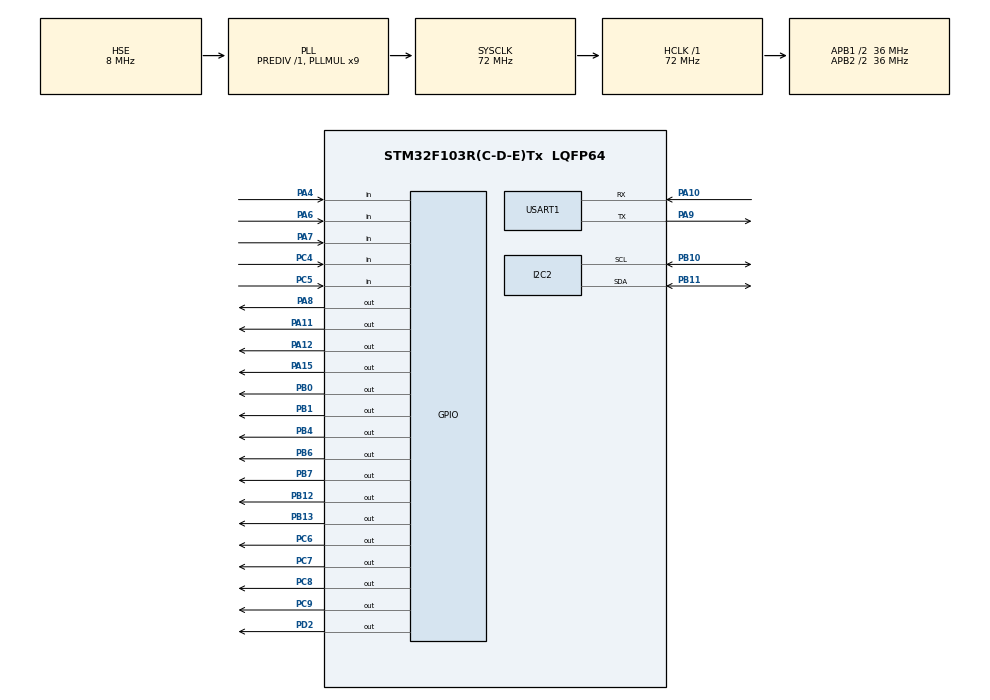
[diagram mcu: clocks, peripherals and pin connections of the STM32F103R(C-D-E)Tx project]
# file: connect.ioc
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Mcu.Family=STM32F1
Mcu.Name=STM32F103R(C-D-E)Tx
Mcu.Package=LQFP64
NVIC.PriorityGroup=NVIC_PRIORITYGROUP_4
NVIC.USART1_IRQn=true\:0\:0\:false\:false\:true\:true
PA10.Mode=Asynchronous
PA10.Signal=USART1_RX
PA11.Signal=GPIO_Output
PA12.Signal=GPIO_Output
PA15.Signal=GPIO_Output
PA4.Signal=GPIO_Input
PA6.Signal=GPIO_Input
PA7.Signal=GPIO_Input
PA8.Signal=GPIO_Output
PA9.Mode=Asynchronous
PA9.Signal=USART1_TX
PB0.Signal=GPIO_Output
PB1.Signal=GPIO_Output
PB10.Mode=I2C
PB10.Signal=I2C2_SCL
PB11.Mode=I2C
PB11.Signal=I2C2_SDA
PB12.Signal=GPIO_Output
PB13.Signal=GPIO_Output
PB4.Signal=GPIO_Output
PB6.Signal=GPIO_Output
PB7.Signal=GPIO_Output
PC4.Signal=GPIO_Input
PC5.Signal=GPIO_Input
PC6.Signal=GPIO_Output
PC7.Signal=GPIO_Output
PC8.Signal=GPIO_Output
PC9.Signal=GPIO_Output
PD0-OSC_IN.Mode=HSE-External-Oscillator
PD0-OSC_IN.Signal=RCC_OSC_IN
PD1-OSC_OUT.Mode=HSE-External-Oscillator
PD1-OSC_OUT.Signal=RCC_OSC_OUT
PD2.Signal=GPIO_Output
ProjectManager.HeapSize=0x200
ProjectManager.StackSize=0x400
ProjectManager.TargetToolchain=MDK-ARM V5
RCC.AHBFreq_Value=72000000
RCC.APB1CLKDivider=RCC_HCLK_DIV2
RCC.APB1Freq_Value=36000000
RCC.APB1TimFreq_Value=72000000
RCC.APB2CLKDivider=RCC_HCLK_DIV2
RCC.APB2Freq_Value=36000000
RCC.APB2TimFreq_Value=72000000
RCC.HCLKFreq_Value=72000000
RCC.PLLMUL=RCC_PLL_MUL9
RCC.PLLSourceVirtual=RCC_PLLSOURCE_HSE
RCC.SYSCLKFreq_VALUE=72000000
RCC.SYSCLKSource=RCC_SYSCLKSOURCE_PLLCLK
RCC.USBFreq_Value=72000000
USART1.VirtualMode=VM_ASYNC
VP_SYS_VS_ND.Mode=No_Debug
board=custom

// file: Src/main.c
/* USER CODE BEGIN Header */
/**
  ******************************************************************************
  * @file           : main.c
  * @brief          : Main program body
  ******************************************************************************
  ** This notice applies to any and all portions of this file
  * that are not between comment pairs USER CODE BEGIN and
  * USER CODE END. Other portions of this file, whether
  * inserted by the user or by software development tools
  * are owned by their respective copyright owners.
  *
  * COPYRIGHT(c) 2019 STMicroelectronics
  *
  * Redistribution and use in source and binary forms, with or without modification,
  * are permitted provided that the following conditions are met:
  *   1. Redistributions of source code must retain the above copyright notice,
  *      this list of conditions and the following disclaimer.
  *   2. Redistributions in binary form must reproduce the above copyright notice,
  *      this list of conditions and the following disclaimer in the documentation
  *      and/or other materials provided with the distribution.
  *   3. Neither the name of STMicroelectronics nor the names of its contributors
  *      may be used to endorse or promote products derived from this software
  *      without specific prior written permission.
  *
  * THIS SOFTWARE IS PROVIDED BY THE COPYRIGHT HOLDERS AND CONTRIBUTORS "AS IS"
  * AND ANY EXPRESS OR IMPLIED WARRANTIES, INCLUDING, BUT NOT LIMITED TO, THE
  * IMPLIED WARRANTIES OF MERCHANTABILITY AND FITNESS FOR A PARTICULAR PURPOSE ARE
  * DISCLAIMED. IN NO EVENT SHALL THE COPYRIGHT HOLDER OR CONTRIBUTORS BE LIABLE
  * FOR ANY DIRECT, INDIRECT, INCIDENTAL, SPECIAL, EXEMPLARY, OR CONSEQUENTIAL
  * DAMAGES (INCLUDING, BUT NOT LIMITED TO, PROCUREMENT OF SUBSTITUTE GOODS OR
  * SERVICES; LOSS OF USE, DATA, OR PROFITS; OR BUSINESS INTERRUPTION) HOWEVER
  * CAUSED AND ON ANY THEORY OF LIABILITY, WHETHER IN CONTRACT, STRICT LIABILITY,
  * OR TORT (INCLUDING NEGLIGENCE OR OTHERWISE) ARISING IN ANY WAY OUT OF THE USE
  * OF THIS SOFTWARE, EVEN IF ADVISED OF THE POSSIBILITY OF SUCH DAMAGE.
  *
  ******************************************************************************
  */
/* USER CODE END Header */

#include "main.h"

I2C_HandleTypeDef hi2c2;

UART_HandleTypeDef huart1;

/* USER CODE BEGIN PV */

struct GPIO_PACK{
		GPIO_TypeDef * port;
		uint16_t pin;
	};
	struct GPIO_PACK segs[8]= {
	{GPIOA,GPIO_PIN_15},
	{GPIOA,GPIO_PIN_11},
	{GPIOC,GPIO_PIN_9},
	{GPIOC,GPIO_PIN_7},
	{GPIOC,GPIO_PIN_8},
	{GPIOA,GPIO_PIN_12},
	{GPIOA,GPIO_PIN_8},
	{GPIOC,GPIO_PIN_6},
	}	;
	struct GPIO_PACK bits[4]={
	{GPIOD,GPIO_PIN_2},
	{GPIOB,GPIO_PIN_4},
	{GPIOB,GPIO_PIN_6},
	{GPIOB,GPIO_PIN_7},

	};
uint8_t shuzu[]={
	0xc0,0xf9,0xa4,0xb0,0x99,0x92,0x82,
	0xf8,0x80,0x90,0x88,0x83,0xc6,0xa1,0x86,0x8e
};
void DisplayOnebit(uint8_t digtal,uint8_t bit){
		uint8_t i;
		for(i=0;i<8;i++){
			HAL_GPIO_WritePin(segs[i].port,segs[i].pin,(GPIO_PinState)(shuzu[digtal]&(0x01<<i)));
		}
		for(i=0;i<4;i++){
			HAL_GPIO_WritePin(bits[i].port,bits[i].pin,(GPIO_PinState)(i!=bit));
		}
}

void DisplayDigtal(uint16_t digtal){
	int a=0;

	DisplayOnebit(digtal%10,0);
	HAL_Delay(5);
	if (digtal>=10){
	DisplayOnebit(digtal/10%10,1);
	HAL_Delay(5);
	if (digtal>=100){
	DisplayOnebit(digtal/100%10,2);
	HAL_Delay(5);
	if (digtal>=1000){
	DisplayOnebit(digtal/1000%10,3);
	HAL_Delay(5);

				}
			}
		}

}
//0到9  要在数码管显示 十六进制值
// 扫描按键使用到的gpio口 弄到结构数组里面去
struct GPIO_PACK lie[4]={
   {GPIOB,GPIO_PIN_0},
   {GPIOB,GPIO_PIN_1},
   {GPIOB,GPIO_PIN_13},
   {GPIOB,GPIO_PIN_12}
};
struct GPIO_PACK hang[4]={
   {GPIOA,GPIO_PIN_6},
   {GPIOA,GPIO_PIN_7},
   {GPIOC,GPIO_PIN_4},
   {GPIOC,GPIO_PIN_5}
};

/* USER CODE END PV */

void SystemClock_Config(void);
static void MX_GPIO_Init(void);
static void MX_USART1_UART_Init(void);
static void MX_I2C2_Init(void);
/* USER CODE BEGIN PFP */
uint8_t connctt[15]="hello world";
uint8_t connctt2[25]="The Key is ";
uint8_t *receive;
uint8_t receive_str[4]="0";  // 串口发送接收到的值
int number=0;
int receive_kye;  //扫描键盘获取到的值
int get_key ; //串口发送的值 转换为int
int getkey_length=0; // 获取到的值的长度
void Displaykeying()
	{
		uint8_t i,j,s,key=0;uint8_t k=1;
		for(i=0;i<4;i++)
	{	 HAL_GPIO_WritePin(lie[i].port,lie[i].pin,GPIO_PIN_RESET);
		for(s=0;s<4;s++){
		if(i!=s)
			HAL_GPIO_WritePin(lie[s].port,lie[s].pin,GPIO_PIN_SET);}
		for(j=0;j<4;j++)
	{	k=HAL_GPIO_ReadPin(hang[j].port,hang[j].pin);
		if(k==0)
			HAL_Delay(5);
			if(k==0)
			switch(j)
			{
				case 0:key=j+1+i;break;
				case 1:key=j+4+i;break;
				case 2:key=j+7+i;break;
				case 3:key=j+10+i;break;
			}
		}
	}
	if (key !=0)
	{
		number = 1;
		uint8_t key_str[5];  //按下的键值 转换成字符型
		//connctt2 ="The Key is ";
		strcpy(connctt2,"The Key is ");
		DisplayDigtal(key);
		Int2Str(key_str,key);  //吧receive_key 按下的键值 转换成字符型 key_str
		strncat(connctt2,key_str,10);  //把key_str 添加到connctt2后面
		HAL_Delay(500);

		HAL_UART_Transmit_IT(&huart1,connctt2,25);
		//HAL_UART_Transmit_IT(&huart1,ReadBuffer,10);
	}else
	number = 0;

	}

/* USER CODE END PFP */

/* USER CODE BEGIN 0 */

void Int2Str(uint8_t* str, int intnum)   //将无符号整形整数intnum 转换成字符 str
{
    int i, Div = 1000000000, j = 0, Status = 0;
   //32????????10???,??Div=10 0000 0000
    for (i = 0; i < 10; i++)
    {
        str[j++] = (intnum / Div) + '0';//???? ?????

        intnum = intnum % Div;//?????
        Div /= 10;//???10-i????
        if ((str[j-1] == '0') & (Status == 0))//??????'0'
        {
            j = 0;
        }
        else
        {
            Status++;
        }
    }
}
int str2int1( char* str)  // 字符串转整形
{
    int temp = 0;
    const char* p = str;
    if(str == NULL) return 0;
    if(*str == '-' || *str == '+')
    {
        str ++;
    }
    while( *str != 0)
    {
        if( *str < '0' || *str > '9')
        {
            break;
        }
        temp = temp*10 +(*str -'0');
        str ++;
    }
    if(*p == '-')
    {
        temp = -temp;
    }
    return temp;
}
#define ADDR_AT24C02_Write 0xA0
#define ADDR_AT24C02_Read 0xA1

#define BufferSize 0x100

uint16_t i;
uint8_t  AT24c02_flag;//

uint8_t params[4]="0";

uint8_t test_i2c[3];
/* USER CODE END 0 */

int main(void)
{

  /* MCU Configuration--------------------------------------------------------*/

  /* Reset of all peripherals, Initializes the Flash interface and the Systick. */
  HAL_Init();

  /* Configure the system clock */
  SystemClock_Config();

  /* Initialize all configured peripherals */
  MX_GPIO_Init();
  MX_USART1_UART_Init();
  MX_I2C2_Init();
  /* USER CODE BEGIN 2 */
	HAL_UART_Receive_IT(&huart1, receive_str,4);

	HAL_I2C_Mem_Read(&hi2c2, ADDR_AT24C02_Read,0,I2C_MEMADD_SIZE_8BIT,receive_str,4,10000);
	HAL_UART_Transmit(&huart1,receive_str,4,50);
	int t =0;
//
  /* USER CODE END 2 */

  /* Infinite loop */
  while (1)
  {

    /* USER CODE BEGIN 3 */

		t++;
		Displaykeying();

		//get_key = str2int1(receive_str);
		get_key = (receive_str[0]-48)*1000+(receive_str[1]-48)*100+(receive_str[2]-48)*10+(receive_str[3]-48);
		if (t%1000==0)
		{
		HAL_UART_Transmit(&huart1,params,4,50);
			HAL_UART_Transmit(&huart1,receive_str,4,50);
			t=0;
		}
		DisplayDigtal(get_key);

  }
  /* USER CODE END 3 */
}

void SystemClock_Config(void)
{
  RCC_OscInitTypeDef RCC_OscInitStruct = {0};
  RCC_ClkInitTypeDef RCC_ClkInitStruct = {0};

  /**Initializes the CPU, AHB and APB busses clocks
  */
  RCC_OscInitStruct.OscillatorType = RCC_OSCILLATORTYPE_HSE;
  RCC_OscInitStruct.HSEState = RCC_HSE_ON;
  RCC_OscInitStruct.HSEPredivValue = RCC_HSE_PREDIV_DIV1;
  RCC_OscInitStruct.HSIState = RCC_HSI_ON;
  RCC_OscInitStruct.PLL.PLLState = RCC_PLL_ON;
  RCC_OscInitStruct.PLL.PLLSource = RCC_PLLSOURCE_HSE;
  RCC_OscInitStruct.PLL.PLLMUL = RCC_PLL_MUL9;
  if (HAL_RCC_OscConfig(&RCC_OscInitStruct) != HAL_OK)
  {
    Error_Handler();
  }
  /**Initializes the CPU, AHB and APB busses clocks
  */
  RCC_ClkInitStruct.ClockType = RCC_CLOCKTYPE_HCLK|RCC_CLOCKTYPE_SYSCLK
                              |RCC_CLOCKTYPE_PCLK1|RCC_CLOCKTYPE_PCLK2;
  RCC_ClkInitStruct.SYSCLKSource = RCC_SYSCLKSOURCE_PLLCLK;
  RCC_ClkInitStruct.AHBCLKDivider = RCC_SYSCLK_DIV1;
  RCC_ClkInitStruct.APB1CLKDivider = RCC_HCLK_DIV2;
  RCC_ClkInitStruct.APB2CLKDivider = RCC_HCLK_DIV2;

  if (HAL_RCC_ClockConfig(&RCC_ClkInitStruct, FLASH_LATENCY_2) != HAL_OK)
  {
    Error_Handler();
  }
}

static void MX_I2C2_Init(void)
{

  hi2c2.Instance = I2C2;
  hi2c2.Init.ClockSpeed = 100000;
  hi2c2.Init.DutyCycle = I2C_DUTYCYCLE_2;
  hi2c2.Init.OwnAddress1 = 0;
  hi2c2.Init.AddressingMode = I2C_ADDRESSINGMODE_7BIT;
  hi2c2.Init.DualAddressMode = I2C_DUALADDRESS_DISABLE;
  hi2c2.Init.OwnAddress2 = 0;
  hi2c2.Init.GeneralCallMode = I2C_GENERALCALL_DISABLE;
  hi2c2.Init.NoStretchMode = I2C_NOSTRETCH_DISABLE;
  if (HAL_I2C_Init(&hi2c2) != HAL_OK)
  {
    Error_Handler();
  }

}

static void MX_USART1_UART_Init(void)
{

  huart1.Instance = USART1;
  huart1.Init.BaudRate = 115200;
  huart1.Init.WordLength = UART_WORDLENGTH_8B;
  huart1.Init.StopBits = UART_STOPBITS_1;
  huart1.Init.Parity = UART_PARITY_NONE;
  huart1.Init.Mode = UART_MODE_TX_RX;
  huart1.Init.HwFlowCtl = UART_HWCONTROL_NONE;
  huart1.Init.OverSampling = UART_OVERSAMPLING_16;
  if (HAL_UART_Init(&huart1) != HAL_OK)
  {
    Error_Handler();
  }

}

static void MX_GPIO_Init(void)
{
  GPIO_InitTypeDef GPIO_InitStruct = {0};

  /* GPIO Ports Clock Enable */
  __HAL_RCC_GPIOD_CLK_ENABLE();
  __HAL_RCC_GPIOA_CLK_ENABLE();
  __HAL_RCC_GPIOC_CLK_ENABLE();
  __HAL_RCC_GPIOB_CLK_ENABLE();

  /*Configure GPIO pin Output Level */
  HAL_GPIO_WritePin(GPIOB, GPIO_PIN_0|GPIO_PIN_1|GPIO_PIN_12|GPIO_PIN_13
                          |GPIO_PIN_4|GPIO_PIN_6|GPIO_PIN_7, GPIO_PIN_RESET);

  /*Configure GPIO pin Output Level */
  HAL_GPIO_WritePin(GPIOC, GPIO_PIN_6|GPIO_PIN_7|GPIO_PIN_8|GPIO_PIN_9, GPIO_PIN_RESET);

  /*Configure GPIO pin Output Level */
  HAL_GPIO_WritePin(GPIOA, GPIO_PIN_8|GPIO_PIN_11|GPIO_PIN_12|GPIO_PIN_15, GPIO_PIN_RESET);

  /*Configure GPIO pin Output Level */
  HAL_GPIO_WritePin(GPIOD, GPIO_PIN_2, GPIO_PIN_RESET);

  /*Configure GPIO pins : PA4 PA6 PA7 */
  GPIO_InitStruct.Pin = GPIO_PIN_4|GPIO_PIN_6|GPIO_PIN_7;
  GPIO_InitStruct.Mode = GPIO_MODE_INPUT;
  GPIO_InitStruct.Pull = GPIO_NOPULL;
  HAL_GPIO_Init(GPIOA, &GPIO_InitStruct);

  /*Configure GPIO pins : PC4 PC5 */
  GPIO_InitStruct.Pin = GPIO_PIN_4|GPIO_PIN_5;
  GPIO_InitStruct.Mode = GPIO_MODE_INPUT;
  GPIO_InitStruct.Pull = GPIO_NOPULL;
  HAL_GPIO_Init(GPIOC, &GPIO_InitStruct);

  /*Configure GPIO pins : PB0 PB1 PB12 PB13
                           PB4 PB6 PB7 */
  GPIO_InitStruct.Pin = GPIO_PIN_0|GPIO_PIN_1|GPIO_PIN_12|GPIO_PIN_13
                          |GPIO_PIN_4|GPIO_PIN_6|GPIO_PIN_7;
  GPIO_InitStruct.Mode = GPIO_MODE_OUTPUT_PP;
  GPIO_InitStruct.Pull = GPIO_NOPULL;
  GPIO_InitStruct.Speed = GPIO_SPEED_FREQ_LOW;
  HAL_GPIO_Init(GPIOB, &GPIO_InitStruct);

  /*Configure GPIO pins : PC6 PC7 PC8 PC9 */
  GPIO_InitStruct.Pin = GPIO_PIN_6|GPIO_PIN_7|GPIO_PIN_8|GPIO_PIN_9;
  GPIO_InitStruct.Mode = GPIO_MODE_OUTPUT_PP;
  GPIO_InitStruct.Pull = GPIO_NOPULL;
  GPIO_InitStruct.Speed = GPIO_SPEED_FREQ_LOW;
  HAL_GPIO_Init(GPIOC, &GPIO_InitStruct);

  /*Configure GPIO pins : PA8 PA11 PA12 PA15 */
  GPIO_InitStruct.Pin = GPIO_PIN_8|GPIO_PIN_11|GPIO_PIN_12|GPIO_PIN_15;
  GPIO_InitStruct.Mode = GPIO_MODE_OUTPUT_PP;
  GPIO_InitStruct.Pull = GPIO_NOPULL;
  GPIO_InitStruct.Speed = GPIO_SPEED_FREQ_LOW;
  HAL_GPIO_Init(GPIOA, &GPIO_InitStruct);

  /*Configure GPIO pin : PD2 */
  GPIO_InitStruct.Pin = GPIO_PIN_2;
  GPIO_InitStruct.Mode = GPIO_MODE_OUTPUT_PP;
  GPIO_InitStruct.Pull = GPIO_NOPULL;
  GPIO_InitStruct.Speed = GPIO_SPEED_FREQ_LOW;
  HAL_GPIO_Init(GPIOD, &GPIO_InitStruct);

}

/* USER CODE BEGIN 4 */
void HAL_UART_RxCpltCallback(UART_HandleTypeDef *huart)
{

	//getkey_length = 4-huart1.RxXferCount;
	uint8_t received[4];
		for(int i=0;i<4;i++)
		received[i]=receive_str[i];
	HAL_I2C_Mem_Write(&hi2c2, ADDR_AT24C02_Write, 0, I2C_MEMADD_SIZE_8BIT,received,4, 10000);
	HAL_UART_Transmit(&huart1,received,4,50);
  HAL_UART_Receive_IT(&huart1, receive_str,4);

}
/* USER CODE END 4 */

void Error_Handler(void)
{
}

/************************ (C) COPYRIGHT STMicroelectronics *****END OF FILE****/
